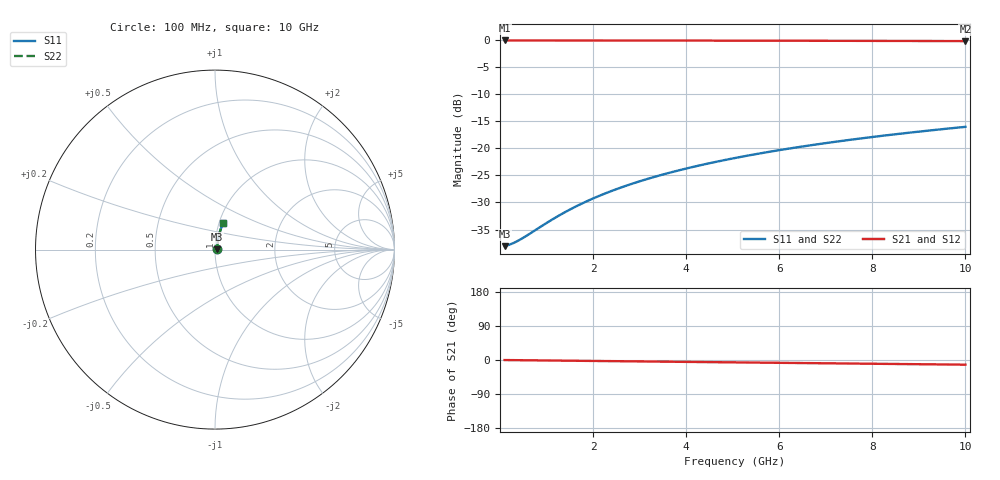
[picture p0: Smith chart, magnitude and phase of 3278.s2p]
# Hz S RI R 50.00
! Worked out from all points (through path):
!   100 points, 100 MHz to 10 GHz, reference 50 ohm
!   highest |S21| = -0.11 dB at 100 MHz (marker M1); lowest = -0.2 dB at 10 GHz (marker M2)
!   group delay of S21, straight-line fit = 3.43 ps
!   lowest |S11| = -38.1 dB at 100 MHz (marker M3), VSWR 1.03, Z = 51.3 + j0.161 ohm
!   |S11| at or under -10 dB: start of sweep to end of sweep
!   |S22| runs from -38.1 to -16.0 dB; largest |S21 - S12| = 0
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1e8  0.0124 0.00157  0.9876 -0.00214  0.9876 -0.00214  0.0124 0.00157
2e8  0.0125 0.00314  0.9875 -0.00428  0.9875 -0.00428  0.0125 0.00314
3e8  0.0126 0.00471  0.9874 -0.00643  0.9874 -0.00643  0.0126 0.00471
4e8  0.0126 0.00627  0.9874 -0.00857  0.9874 -0.00857  0.0126 0.00627
6e8  0.0128 0.00941  0.9872 -0.0128  0.9872 -0.0128  0.0128 0.00941
1e9  0.0131 0.0157  0.9869 -0.0214  0.9869 -0.0214  0.0131 0.0157
1.2e9  0.0133 0.0188  0.9867 -0.0257  0.9867 -0.0257  0.0133 0.0188
1.5e9  0.0136 0.0235  0.9863 -0.0321  0.9863 -0.0321  0.0136 0.0235
1.8e9  0.014 0.0282  0.9859 -0.0385  0.9859 -0.0385  0.014 0.0282
2.1e9  0.0145 0.0329  0.9854 -0.0449  0.9854 -0.0449  0.0145 0.0329
2.5e9  0.0152 0.0391  0.9847 -0.0534  0.9847 -0.0534  0.0152 0.0391
2.9e9  0.0159 0.0453  0.9839 -0.0619  0.9839 -0.0619  0.0159 0.0453
3.4e9  0.0171 0.053  0.9827 -0.0725  0.9827 -0.0725  0.0171 0.053
3.8e9  0.0181 0.0592  0.9817 -0.081  0.9817 -0.081  0.0181 0.0592
4.2e9  0.0192 0.0653  0.9805 -0.0894  0.9805 -0.0894  0.0192 0.0653
4.6e9  0.0204 0.0715  0.9792 -0.0978  0.9792 -0.0978  0.0204 0.0715
5.1e9  0.0221 0.0791  0.9775 -0.1083  0.9775 -0.1083  0.0221 0.0791
5.9e9  0.0251 0.0911  0.9743 -0.125  0.9743 -0.125  0.0251 0.0911
6.7e9  0.0285 0.1031  0.9707 -0.1415  0.9707 -0.1415  0.0285 0.1031
7.5e9  0.0323 0.1149  0.9667 -0.1579  0.9667 -0.1579  0.0323 0.1149
8.4e9  0.0371 0.1279  0.9617 -0.1762  0.9617 -0.1762  0.0371 0.1279
1e10  0.0467 0.1505  0.9516 -0.208  0.9516 -0.208  0.0467 0.1505
